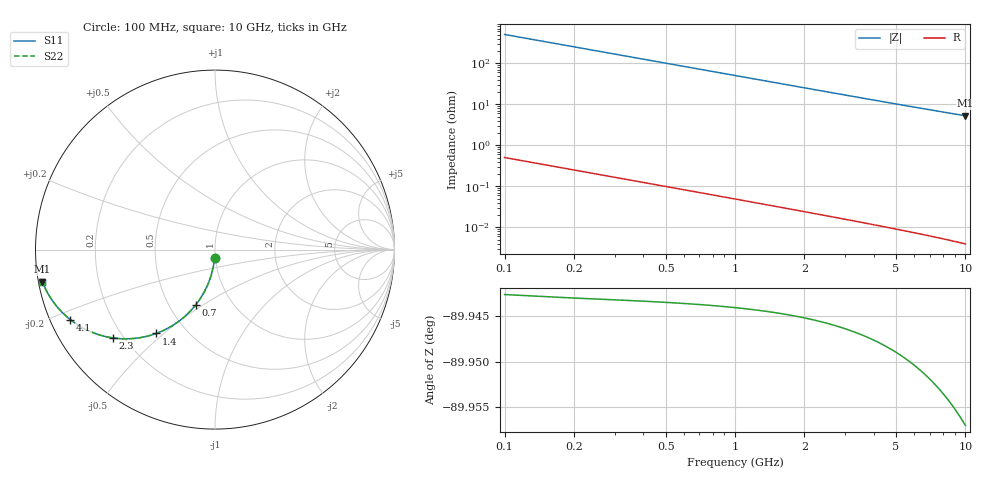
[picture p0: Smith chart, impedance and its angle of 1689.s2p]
# Hz S RI R 50.00
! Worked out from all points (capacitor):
!   100 points, 100 MHz to 10 GHz, reference 50 ohm
!   read as one part in shunt: C = 3.17 pF near 100 MHz
!   lowest |Z| = 5.25 ohm at 10 GHz (marker M1)
!   S11 on the Smith chart (normalised r, x): 100 MHz: 0.99, -0.10; 700 MHz: 0.67, -0.47; 1.4 GHz: 0.34, -0.47; 2.3 GHz: 0.16, -0.36; 4.1 GHz: 0.06, -0.23; 10 GHz: 0.01, -0.09
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1e8  -0.00247 -0.0496  0.9974 -0.0498  0.9974 -0.0498  -0.00247 -0.0496
2e8  -0.00987 -0.0984  0.99 -0.0988  0.99 -0.0988  -0.00987 -0.0984
3e8  -0.0219 -0.1458  0.978 -0.1465  0.978 -0.1465  -0.0219 -0.1458
4e8  -0.0383 -0.1911  0.9616 -0.192  0.9616 -0.192  -0.0383 -0.1911
5e8  -0.0586 -0.2338  0.9413 -0.235  0.9413 -0.235  -0.0586 -0.2338
6e8  -0.0822 -0.2735  0.9177 -0.2749  0.9177 -0.2749  -0.0822 -0.2735
7e8  -0.1086 -0.3099  0.8913 -0.3115  0.8913 -0.3115  -0.1086 -0.3099
8e8  -0.1372 -0.3427  0.8627 -0.3445  0.8627 -0.3445  -0.1372 -0.3427
1e9  -0.199 -0.3976  0.8009 -0.3999  0.8009 -0.3999  -0.199 -0.3976
1.2e9  -0.2634 -0.4386  0.7365 -0.4413  0.7365 -0.4413  -0.2634 -0.4386
1.4e9  -0.3273 -0.4671  0.6726 -0.4703  0.6726 -0.4703  -0.3273 -0.4671
1.6e9  -0.3885 -0.4851  0.6114 -0.4887  0.6114 -0.4887  -0.3885 -0.4851
1.8e9  -0.4456 -0.4945  0.5543 -0.4986  0.5543 -0.4986  -0.4456 -0.4945
2.3e9  -0.5675 -0.4923  0.4324 -0.4975  0.4324 -0.4975  -0.5675 -0.4923
2.8e9  -0.6603 -0.4699  0.3395 -0.4763  0.3395 -0.4763  -0.6603 -0.4699
3.4e9  -0.7414 -0.4334  0.2585 -0.4412  0.2585 -0.4412  -0.7414 -0.4334
4.1e9  -0.8066 -0.3897  0.1933 -0.3991  0.1933 -0.3991  -0.8066 -0.3897
5.1e9  -0.8659 -0.3342  0.1339 -0.346  0.1339 -0.346  -0.8659 -0.3342
5.8e9  -0.8932 -0.3015  0.1066 -0.3149  0.1066 -0.3149  -0.8932 -0.3015
6.7e9  -0.9179 -0.2661  0.0819 -0.2816  0.0819 -0.2816  -0.9179 -0.2661
8.4e9  -0.9464 -0.2146  0.0533 -0.2342  0.0533 -0.2342  -0.9464 -0.2146
1e10  -0.9618 -0.1789  0.0378 -0.2025  0.0378 -0.2025  -0.9618 -0.1789
